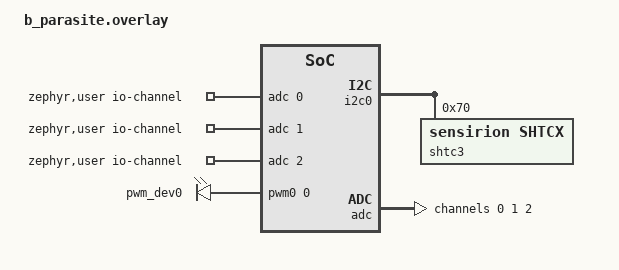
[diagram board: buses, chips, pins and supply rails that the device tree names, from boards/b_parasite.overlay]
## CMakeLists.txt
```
# SPDX-License-Identifier: Apache-2.0

cmake_minimum_required(VERSION 3.20.0)

# SET(CMAKE_CXX_FLAGS  "${CMAKE_CXX_FLAGS} -Werror")

find_package(Zephyr REQUIRED HINTS $ENV{ZEPHYR_BASE})

project(plant_sensor_app)

target_sources(app PRIVATE 
src/main.cpp
src/zb_zcl_soil_moisture.c
src/status_codes.cpp
src/battery.cpp
src/adc.cpp
src/moisture_sensor.cpp
src/light_sensor.cpp
src/zigbee.cpp
)

include_directories(include)
```

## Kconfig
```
source "Kconfig.zephyr"

config ZIGBEE_UPDATE_PERIOD
  int "Zigbee cluster attribute updated period in seconds"
  default 120

config LOG_MOISTURE_SENSOR_LEVEL
  int "Moisture sensor log level"
  default 3

config LOG_LIGHT_SENSOR_LEVEL
  int "Light sensor log level"
  default 3

config ZIGBEE_DATA_POLL_INTERVAL
  int "Zigbee data poll interval in milliseconds"
  default 5000
```

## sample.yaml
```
sample:
  description: Template for developing an application
  name: Application Template
common:
    tags: introduction
    integration_platforms:
      - native_posix
    harness: console
    harness_config:
      type: one_line
      regex:
        - "Hello World! (.*)"
tests:
  sample.basic.helloworld:
    tags: introduction
```

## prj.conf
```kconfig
# Enabel C++
CONFIG_MAIN_STACK_SIZE=4096
CONFIG_NEWLIB_LIBC=y
CONFIG_CPLUSPLUS=y

CONFIG_SERIAL=n
CONFIG_GPIO=y

CONFIG_PM=y

CONFIG_LOG=n
CONFIG_LOG_DEFAULT_LEVEL=4
CONFIG_LOG_MOISTURE_SENSOR_LEVEL=4
CONFIG_LOG_LIGHT_SENSOR_LEVEL=4
CONFIG_SENSOR_LOG_LEVEL_DBG=y

CONFIG_UART_CONSOLE=n
CONFIG_USE_SEGGER_RTT=n
CONFIG_RTT_CONSOLE=n

CONFIG_ADC=y
CONFIG_PWM=y

CONFIG_HEAP_MEM_POOL_SIZE=2048
CONFIG_MAIN_THREAD_PRIORITY=7

CONFIG_ZIGBEE=y
CONFIG_ZIGBEE_APP_UTILS=y
CONFIG_ZIGBEE_ROLE_END_DEVICE=y
CONFIG_ZIGBEE_CHANNEL_SELECTION_MODE_MULTI=y
CONFIG_ZIGBEE_DATA_POLL_INTERVAL=20000


# This example requires more workqueue stack
CONFIG_SYSTEM_WORKQUEUE_STACK_SIZE=2048

# Enable API for powering down unused RAM parts
CONFIG_RAM_POWER_DOWN_LIBRARY=y

# Enable nRF ECB driver
CONFIG_CRYPTO=y
CONFIG_CRYPTO_NRF_ECB=y
CONFIG_CRYPTO_INIT_PRIORITY=80

# Networking
CONFIG_NET_IPV6_MLD=n
CONFIG_NET_IPV6_NBR_CACHE=n
CONFIG_NET_IPV6_RA_RDNSS=n
CONFIG_NET_IP_ADDR_CHECK=n
CONFIG_NET_UDP=n

CONFIG_I2C=y
CONFIG_SENSOR=y
CONFIG_SHTCX=y
CONFIG_SPI=n
```

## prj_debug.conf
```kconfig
# Enabel C++
CONFIG_MAIN_STACK_SIZE=4096
CONFIG_NEWLIB_LIBC=y
CONFIG_CPLUSPLUS=y

CONFIG_SERIAL=n
CONFIG_GPIO=y

CONFIG_ZIGBEE_UPDATE_PERIOD=10

CONFIG_PM=y

CONFIG_LOG=y
CONFIG_LOG_DEFAULT_LEVEL=3
CONFIG_LOG_MOISTURE_SENSOR_LEVEL=4
CONFIG_LOG_LIGHT_SENSOR_LEVEL=3
CONFIG_SENSOR_LOG_LEVEL_DBG=y

CONFIG_UART_CONSOLE=n
CONFIG_USE_SEGGER_RTT=y
CONFIG_RTT_CONSOLE=y

CONFIG_ADC=y
CONFIG_PWM=y

CONFIG_HEAP_MEM_POOL_SIZE=2048
CONFIG_MAIN_THREAD_PRIORITY=7

CONFIG_ZIGBEE=y
CONFIG_ZIGBEE_APP_UTILS=y
CONFIG_ZIGBEE_ROLE_END_DEVICE=y
CONFIG_ZIGBEE_CHANNEL_SELECTION_MODE_MULTI=y
CONFIG_ZIGBEE_DATA_POLL_INTERVAL=5000


# This example requires more workqueue stack
CONFIG_SYSTEM_WORKQUEUE_STACK_SIZE=2048

# Enable API for powering down unused RAM parts
CONFIG_RAM_POWER_DOWN_LIBRARY=y

# Enable nRF ECB driver
CONFIG_CRYPTO=y
CONFIG_CRYPTO_NRF_ECB=y
CONFIG_CRYPTO_INIT_PRIORITY=80

# Networking
CONFIG_NET_IPV6_MLD=n
CONFIG_NET_IPV6_NBR_CACHE=n
CONFIG_NET_IPV6_RA_RDNSS=n
CONFIG_NET_IP_ADDR_CHECK=n
CONFIG_NET_UDP=n

CONFIG_I2C=y
CONFIG_SENSOR=y
CONFIG_SHTCX=y
CONFIG_SPI=n
```

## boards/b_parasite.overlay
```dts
/ {
  zephyr,user {
    io-channels = <&adc 0>, <&adc 1>, <&adc 2>;
  };
  pwmdevs {
    compatible = "pwm-leds";
    pwm_dev0: pwm_dev_0 {
      pwms = <&pwm0 0 1000 PWM_POLARITY_NORMAL>;
    };
   };
  aliases {
    sensor-pwm = &pwm_dev0;
    temp-sensor = &shtc3;
  };
};

&i2c0{
  shtc3: shtc3@70 {
		compatible = "sensirion,shtcx";
		reg = <0x70>;
    chip = "shtc3";
    measure-mode = "low-power";
  };
};

&adc{

  channel@0 {
    reg = <0>;
    zephyr,gain = "ADC_GAIN_1_6";
    zephyr,reference = "ADC_REF_INTERNAL";
    zephyr,acquisition-time = <ADC_ACQ_TIME_DEFAULT>;
    zephyr,input-positive = <NRF_SAADC_VDD>;
    zephyr,resolution = <14>;
    zephyr,oversampling = <8>;
  };

  channel@1 {
    reg = <1>;
    zephyr,gain = "ADC_GAIN_1_6";
    zephyr,reference = "ADC_REF_INTERNAL";
    zephyr,acquisition-time = <ADC_ACQ_TIME(ADC_ACQ_TIME_MICROSECONDS, 20)>;
    zephyr,input-positive = <NRF_SAADC_AIN0>;
    zephyr,resolution = <12>;
  };

  channel@2 {
    reg = <2>;
    zephyr,gain = "ADC_GAIN_1_6";
    zephyr,reference = "ADC_REF_INTERNAL";
    zephyr,acquisition-time = <ADC_ACQ_TIME_DEFAULT>;
    zephyr,input-positive = <NRF_SAADC_AIN1>;
    zephyr,resolution = <12>;
  };
};
```

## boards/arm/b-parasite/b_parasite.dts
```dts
/*
 * Copyright (c) 2020 Tobias Svehagen
 *
 * SPDX-License-Identifier: Apache-2.0
 */

 /dts-v1/;
 #include <nordic/nrf52840_qiaa.dtsi>
 /* #include "feather_connector.dtsi" */
 
 / {
	 model = "B Parasite";
	 compatible = "adafruit,feather-nrf52840";
 
   zephyr,user {
     io-channels = <&adc 2>;
   };
	 chosen {
		 zephyr,console = &uart0;
		 zephyr,shell-uart = &uart0;
		 zephyr,uart-mcumgr = &uart0;
		 zephyr,bt-mon-uart = &uart0;
		 zephyr,bt-c2h-uart = &uart0;
		 zephyr,sram = &sram0;
		 zephyr,flash = &flash0;
		 zephyr,code-partition = &slot0_partition;
	 };
 
	 leds {
		 compatible = "gpio-leds";
		 led0: led_0 {
			 gpios = <&gpio0 28 0>;
			 label = "Blue LED";
		 };
	 };
 
	 buttons {
		 compatible = "gpio-keys";
		 button0: button_0 {
			 gpios = <&gpio1 2 (GPIO_PULL_UP | GPIO_ACTIVE_LOW)>;
			 label = "Push button switch";
		 };
	 };
 
	 gpios {
		 compatible = "gpio-keys";
		 fast_discharge_en: gpio1_10 {
		   gpios = <&gpio1 10 GPIO_ACTIVE_HIGH>;
		   label = "fast_discharge_en";
		 };
		 photo_v: gpio0_29 {
		   gpios = <&gpio0 29 GPIO_ACTIVE_HIGH>;
		   label = "photo_v";
		 };
	 };
 
	 /* These aliases are provided for compatibility with samples */
	 aliases {
		 led0 = &led0;
     fast-discharge-en = &fast_discharge_en;
     photo-v = &photo_v;
	 };
 };
 
 &adc {
	 status = "okay";
 };
 
 &gpiote {
	 status = "okay";
 };
 
 &gpio0 {
	 status = "okay";
 };
 
 &gpio1 {
	 status = "okay";
 };
 
 &uart0 {
	 compatible = "nordic,nrf-uart";
	 status = "disabled";
 };
 
 &uart1 {
	 compatible = "nordic,nrf-uarte";
	 status = "disabled";
 };
 
 &i2c0 {
	 compatible = "nordic,nrf-twi";
	 status = "okay";
	 sda-pin = <24>;
	 scl-pin = <13>;
 };
 
 &spi1 {
	 compatible = "nordic,nrf-spi";
	 status = "disabled";
 };
 
 &spi2 {
	 compatible = "nordic,nrf-spi";
	 status = "disabled";
 };
 
 &qspi {
	 status = "disabled";
 };
 
 &flash0 {
 
	 partitions {
		 compatible = "fixed-partitions";
		 #address-cells = <1>;
		 #size-cells = <1>;
 
		 boot_partition: partition@0 {
			 label = "mcuboot";
			 reg = <0x000000000 0x0000C000>;
		 };
		 slot0_partition: partition@c000 {
			 label = "image-0";
			 reg = <0x0000C000 0x00067000>;
		 };
		 slot1_partition: partition@73000 {
			 label = "image-1";
			 reg = <0x00073000 0x00067000>;
		 };
		 scratch_partition: partition@da000 {
			 label = "image-scratch";
			 reg = <0x000da000 0x0001e000>;
		 };
 
		 /*
		  * The flash starting at 0x000f8000 and ending at
		  * 0x000fffff is reserved for use by the application.
		  */
 
		 /* Storage partition will be used by FCB/NFFS/NVS if enabled. */
		 storage_partition: partition@f8000 {
			 label = "storage";
			 reg = <0x000f8000 0x00008000>;
		 };
	 };
 };
 
 zephyr_udc0: &usbd {
	 compatible = "nordic,nrf-usbd";
	 status = "okay";
 };
 
```

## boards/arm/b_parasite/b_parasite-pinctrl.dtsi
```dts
/*
 * Copyright (c) 2022 Nordic Semiconductor
 * SPDX-License-Identifier: Apache-2.0
 */

&pinctrl {
	uart0_default: uart0_default {
		group1 {
			psels = <NRF_PSEL(UART_TX, 0, 25)>,
				<NRF_PSEL(UART_RX, 0, 24)>;
		};
	};

	uart0_sleep: uart0_sleep {
		group1 {
			psels = <NRF_PSEL(UART_TX, 0, 25)>,
				<NRF_PSEL(UART_RX, 0, 24)>;
			low-power-enable;
		};
	};

	i2c0_default: i2c0_default {
		group1 {
			psels = <NRF_PSEL(TWIM_SDA, 0, 24)>,
				<NRF_PSEL(TWIM_SCL, 0, 13)>;
		};
	};

	i2c0_sleep: i2c0_sleep {
		group1 {
			psels = <NRF_PSEL(TWIM_SDA, 0, 24)>,
				<NRF_PSEL(TWIM_SCL, 0, 13)>;
			low-power-enable;
		};
	};

  pwm0_default: pwm0_default {
		group1 {
			psels = <NRF_PSEL(PWM_OUT0, 0, 5)>;
			nordic,invert;
		};
	};

	pwm0_sleep: pwm0_sleep {
		group1 {
			psels = <NRF_PSEL(PWM_OUT0, 0, 5)>;
			low-power-enable;
		};
	};


};
```

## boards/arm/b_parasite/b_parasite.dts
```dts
/*
 * Copyright (c) 2020 Tobias Svehagen
 *
 * SPDX-License-Identifier: Apache-2.0
 */

/dts-v1/;
#include <nordic/nrf52840_qiaa.dtsi>
#include <zephyr/dt-bindings/adc/adc.h>
#include "b_parasite-pinctrl.dtsi"

/ {
  model = "B Parasite";
  compatible = "adafruit,feather-nrf52840";

  chosen {
    zephyr,console = &uart0;
    zephyr,shell-uart = &uart0;
    zephyr,uart-mcumgr = &uart0;
    zephyr,bt-mon-uart = &uart0;
    zephyr,bt-c2h-uart = &uart0;
    zephyr,sram = &sram0;
    zephyr,flash = &flash0;
    zephyr,code-partition = &slot0_partition;
  };

  leds {
    compatible = "gpio-leds";
    led0: led_0 {
        gpios = <&gpio0 28 GPIO_ACTIVE_HIGH>;
        label = "Blue LED";
      };
  };

  buttons {
    compatible = "gpio-keys";
    button0: button_0 {
      gpios = <&gpio1 2 (GPIO_PULL_UP | GPIO_ACTIVE_LOW)>;
      label = "Push button switch";
    };
  };

  gpios {
    compatible = "gpio-keys";
    fast_discharge_en: gpio1_10 {
       gpios = <&gpio1 10 GPIO_ACTIVE_HIGH>;
       label = "fast_discharge_en";
     };
     photo_v: gpio0_29 {
       gpios = <&gpio0 29 GPIO_ACTIVE_HIGH>;
       label = "photo_v";
     };
  };

  /* These aliases are provided for compatibility with samples */
  aliases {
    led0 = &led0;
    fast-discharge-en = &fast_discharge_en;
    photo-v = &photo_v;
    button0 = &button0;
  };
};

&adc {
  #address-cells = <1>;
	#size-cells = <0>;
  status = "okay";
};

&pwm0 {
	status = "okay";
	pinctrl-0 = <&pwm0_default>;
	pinctrl-1 = <&pwm0_sleep>;
	pinctrl-names = "default", "sleep";
};

&gpiote {
  status = "okay";
};

&gpio0 {
  status = "okay";
};

&gpio1 {
  status = "okay";
};

&uart0 {
  compatible = "nordic,nrf-uart";
	current-speed = <115200>;
  status = "disabled";
  pinctrl-0 = <&uart0_default>;
	pinctrl-1 = <&uart0_sleep>;
	pinctrl-names = "default", "sleep";
};


&i2c0 {
  compatible = "nordic,nrf-twi";
  status = "okay";
  pinctrl-0 = <&i2c0_default>;
	pinctrl-1 = <&i2c0_sleep>;
	pinctrl-names = "default", "sleep";
};

&flash0 {

  partitions {
    compatible = "fixed-partitions";
#address-cells = <1>;
#size-cells = <1>;

boot_partition: partition@0 {
                  label = "mcuboot";
                  reg = <0x000000000 0x0000C000>;
                };
slot0_partition: partition@c000 {
                   label = "image-0";
                   reg = <0x0000C000 0x00067000>;
                 };
slot1_partition: partition@73000 {
                   label = "image-1";
                   reg = <0x00073000 0x00067000>;
                 };
scratch_partition: partition@da000 {
                     label = "image-scratch";
                     reg = <0x000da000 0x0001e000>;
                   };

                   /*
                    * The flash starting at 0x000f8000 and ending at
                    * 0x000fffff is reserved for use by the application.
                    */

                   /* Storage partition will be used by FCB/NFFS/NVS if enabled. */
storage_partition: partition@f8000 {
                     label = "storage";
                     reg = <0x000f8000 0x00008000>;
                   };
  };
};

zephyr_udc0: &usbd {
               compatible = "nordic,nrf-usbd";
               status = "okay";
             };
```

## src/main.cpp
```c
// Code for Zigbee plant sensors based on the nRF52 microcontroller    
// Copyright (C) 2022 Stan van Nieuwamerongen 
//
// This program is free software: you can redistribute it and/or modify it
// under the terms of the GNU General Public License as published by the Free
// Software Foundation, either version 3 of the License, or (at your option)
// any later version.
//
// This program is distributed in the hope that it will be useful, but WITHOUT
// ANY WARRANTY; without even the implied warranty of  MERCHANTABILITY or
// FITNESS FOR A PARTICULAR PURPOSE. See the GNU General Public License for
// more details.
//
// You should have received a copy of the GNU General Public License along with
// this program.  If not, see <http://www.gnu.org/licenses/>.

#include <sys/_stdint.h>
#include <zephyr.h>
#include <inttypes.h>
#include <stddef.h>
#include <stdint.h>
#include <math.h>

#include <zephyr/device.h>
#include <zephyr/devicetree.h>
#include <zephyr/drivers/adc.h>
#include <zephyr/drivers/sensor.h>
#include <zephyr/kernel.h>
#include <zephyr/sys/printk.h>
#include <zephyr/sys/util.h>
#include <zephyr/drivers/pwm.h>
#include <drivers/gpio.h>
#include <ram_pwrdn.h>

#include <sys/printk.h>
#include "logging/log.h"
#include "battery.hpp"
#include "status_codes.hpp"
#include "adc.hpp"
#include "moisture_sensor.hpp"
#include "light_sensor.hpp"
#include "zigbee.hpp"
#include "math.h"

extern "C" {
#include <addons/zcl/zb_zcl_temp_measurement_addons.h>
#include "zb_plant_sensor.h"
#include "zb_zcl_soil_moisture.h"
#include "zboss_api_zdo.h"
}

// #define CALIBRATION

LOG_MODULE_REGISTER(app, CONFIG_LOG_DEFAULT_LEVEL);

#define SHTC_NODE DT_ALIAS(temp_sensor)
#define CONFIG_SHTC3_DEV_NAME DT_LABEL(SHTC3)


static const struct pwm_dt_spec moisture_pwm = PWM_DT_SPEC_GET(DT_ALIAS(sensor_pwm));
static const struct gpio_dt_spec discharge_pin = GPIO_DT_SPEC_GET(DT_ALIAS(fast_discharge_en), gpios);
static const struct gpio_dt_spec photo_v_pin = GPIO_DT_SPEC_GET(DT_ALIAS(photo_v), gpios);

adc_c moisture_adc(2);
adc_c light_sensor_adc(1);
moisture_sensor_c moisture_sensor(&moisture_adc, &moisture_pwm, &discharge_pin);
light_sensor_c light_sensor(&light_sensor_adc, &photo_v_pin);

const struct device* shtc3;

/**
* @brief initializes the temeperature and humidity sensor
* @return STATUS_SUCCESS (0) on success
* @return positive error code otherwise
**/
static status_code_t init_shtc3_device(void){
  shtc3 = DEVICE_DT_GET(SHTC_NODE);
  if(shtc3 == NULL){
    /* No such node, or the node does not have status "okay". */
    printk("\nError: no device found.\n");
    return STATUS_ERROR_DEVICE_NOT_FOUND;
  }
  if(!device_is_ready(shtc3)){
    printk("\nError: Device \"%s\" is not ready; "
        "check the driver initialization logs for errors.\n",
        shtc3->name);
    return STATUS_ERROR_DEVICE_NOT_READY;
  }
  LOG_INF("Found device \"%s\", getting sensor data\n", shtc3->name);
  return STATUS_SUCCESS;
}

/**
* @brief Readout the temperature and update the zigbee cluster attribute 
* @return STATUS_SUCCESS (0) on success
* @return positive error code otherwise
**/
status_code_t update_temperature(){
  struct        sensor_value temp;
  int16_t       temperature_attribute   = 0;
  double        measured_temperature    = 0;
  static double previous_temerature     = 0; 

  status_code_t st = sensor_channel_get(shtc3, SENSOR_CHAN_AMBIENT_TEMP, &temp);
  // Make sure it only outputs one decimal
  measured_temperature = round(sensor_value_to_double(&temp) * 10)/10;
  if(st == STATUS_SUCCESS){
    if(measured_temperature != previous_temerature){
      previous_temerature = measured_temperature;
      temperature_attribute = (int16_t)
        (measured_temperature *
         ZCL_TEMPERATURE_MEASUREMENT_MEASURED_VALUE_MULTIPLIER);
      LOG_INF("Temp: %d", temperature_attribute);

      zb_zcl_status_t status = zb_zcl_set_attr_val(
          PLANT_SENSOR_ENDPOINT,
          ZB_ZCL_CLUSTER_ID_TEMP_MEASUREMENT,
          ZB_ZCL_CLUSTER_SERVER_ROLE,
          ZB_ZCL_ATTR_TEMP_MEASUREMENT_VALUE_ID,
          (zb_uint8_t *)&temperature_attribute,
          ZB_FALSE);

      if (status) {
        LOG_ERR("Failed to set ZCL attribute: %d", status);
        return -status;
      }

    }
  }
  return -st;
}

/**
* @brief Readout the humidity and update the zigbee cluster attribute 
* @return STATUS_SUCCESS (0) on success
* @return positive error code otherwise
**/
status_code_t update_humidity(){
  struct        sensor_value hum;
  int16_t       humidity_attribute  = 0;
  double        measured_humidity   = 0;
  static double previous_humidity   = 0; 

  status_code_t st = sensor_channel_get(shtc3, SENSOR_CHAN_HUMIDITY, &hum);
  measured_humidity = round(sensor_value_to_double(&hum) * 10)/10;
  if(st == STATUS_SUCCESS){
    if(previous_humidity != measured_humidity){
      previous_humidity = measured_humidity;
      humidity_attribute = (int16_t)
        (measured_humidity *
         ZCL_HUMIDITY_MEASUREMENT_MEASURED_VALUE_MULTIPLIER);
      LOG_INF("Hum attribute: %d", humidity_attribute);

      zb_zcl_status_t status = zb_zcl_set_attr_val(
          PLANT_SENSOR_ENDPOINT,
          ZB_ZCL_CLUSTER_ID_REL_HUMIDITY_MEASUREMENT,
          ZB_ZCL_CLUSTER_SERVER_ROLE,
          ZB_ZCL_ATTR_REL_HUMIDITY_MEASUREMENT_VALUE_ID,
          (zb_uint8_t *)&humidity_attribute,
          ZB_FALSE);

      if (status) {
        LOG_ERR("Failed to set ZCL attribute: %d", status);
        return -status;
      }

    }
  }
  return -st;
}

/**
* @brief Readout the soil moisture and update the zigbee cluster attribute 
* @return STATUS_SUCCESS (0) on success
* @return positive error code otherwise
**/
status_code_t update_soil_moisture(int32_t battery_mv){
  static int8_t previous_moisture = 0;
  int8_t        moisture_val = moisture_sensor.read(battery_mv);
  if(moisture_val < 0){
    LOG_ERR("Failed to read soil moisture");
    return -moisture_val;
  }
  if(moisture_val != previous_moisture){
    previous_moisture = moisture_val;
    int16_t moisture_attribute = (int16_t)(moisture_val * ZCL_SOIL_MOISTURE_MEASUREMENT_MEASURED_VALUE_MULTIPLIER);
    LOG_INF("Soil moisture: %d\n", moisture_val);

    zb_zcl_status_t status = zb_zcl_set_attr_val(
        PLANT_SENSOR_ENDPOINT,
        ZB_ZCL_CLUSTER_ID_SOIL_MOISTURE_MEASUREMENT,
        ZB_ZCL_CLUSTER_SERVER_ROLE,
        ZB_ZCL_ATTR_REL_HUMIDITY_MEASUREMENT_VALUE_ID,
        (zb_uint8_t *)&moisture_attribute,
        ZB_FALSE);
    if (status) {
      LOG_ERR("Failed to set ZCL attribute: %d", status);
      return -status;
    }
  }
  return STATUS_SUCCESS;
}

/**
* @brief Readout the light sensor and update the zigbee cluster attribute 
* @return STATUS_SUCCESS (0) on success
* @return positive error code otherwise
**/
status_code_t update_light_sensor(){
  static int32_t  previous_light  = 0;
  int32_t         value           = light_sensor.read();

  if(value < 0){
    LOG_ERR("Failed to read from light sensor");
    return -value;
  }
  if(value != previous_light){
    previous_light = value;
    LOG_INF("Light: %d", value);
    int16_t light_sensor_attribute = (int16_t)(10000.0 * log10(value));
    LOG_DBG("Light attribute: %d", light_sensor_attribute);

    zb_zcl_status_t status = zb_zcl_set_attr_val(
        PLANT_SENSOR_ENDPOINT,
        ZB_ZCL_CLUSTER_ID_ILLUMINANCE_MEASUREMENT,
        ZB_ZCL_CLUSTER_SERVER_ROLE,
        ZB_ZCL_ATTR_ILLUMINANCE_MEASUREMENT_MEASURED_VALUE_ID,
        (zb_uint8_t *)&light_sensor_attribute,
        ZB_FALSE);


    if (status) {
      LOG_ERR("Failed to set ZCL attribute: %d", status);
      return -status;
    }
  }
  return STATUS_SUCCESS;
}

/**
* @brief Readout the battery level and update the zigbee cluster attribute 
* @return STATUS_SUCCESS (0) on success
* @return positive error code otherwise
**/
status_code_t update_battery_state(int32_t battery_mv){
  static uint8_t previous_battery = 0;
  uint8_t soc = (uint8_t)round(battery_level_pptt(battery_mv, discharge_curve) / 100 * 2);

  if(previous_battery != soc){
    previous_battery = soc;
    if(battery_mv < 0){
      LOG_ERR("Failed to sample battery");
      return -battery_mv;
    }
    uint8_t battery_attribute = (uint8_t)(battery_mv / ZCL_BATTERY_VOLTAGE_VALUE_DIVIDER);
    zb_zcl_status_t status = zb_zcl_set_attr_val(
        PLANT_SENSOR_ENDPOINT,
        ZB_ZCL_CLUSTER_ID_POWER_CONFIG,
        ZB_ZCL_CLUSTER_SERVER_ROLE,
        ZB_ZCL_ATTR_POWER_CONFIG_BATTERY_VOLTAGE_ID,
        (zb_uint8_t *)&battery_attribute,
        ZB_FALSE);
    LOG_DBG("Battery value: %d mV", battery_mv);

    if (status) {
      LOG_ERR("Failed to set ZCL attribute: %d", status);
      return -status;
    }

    uint8_t alarm_mask = 0;
    if(battery_mv < BATTERY_ALARM_MV)
      alarm_mask |= 1;
    if(battery_mv < BATTERY_THRESHOLD1_MV)
      alarm_mask |= 1 << 1;
    if(battery_mv < BATTERY_THRESHOLD2_MV)
      alarm_mask |= 1 << 2;
    if(battery_mv < BATTERY_THRESHOLD3_MV)
      alarm_mask |= 1 << 3;
    LOG_DBG("Battery alarm mask: %d", alarm_mask);

    status = zb_zcl_set_attr_val(
        PLANT_SENSOR_ENDPOINT,
        ZB_ZCL_CLUSTER_ID_POWER_CONFIG,
        ZB_ZCL_CLUSTER_SERVER_ROLE,
        ZB_ZCL_ATTR_POWER_CONFIG_BATTERY_ALARM_MASK_ID,
        (zb_uint8_t *)&alarm_mask,
        ZB_FALSE);

    if (status) {
      LOG_ERR("Failed to set ZCL attribute: %d", status);
      return -status;
    }

    status = zb_zcl_set_attr_val(
        PLANT_SENSOR_ENDPOINT,
        ZB_ZCL_CLUSTER_ID_POWER_CONFIG,
        ZB_ZCL_CLUSTER_SERVER_ROLE,
        ZB_ZCL_ATTR_POWER_CONFIG_BATTERY_SIZE_ID,
        (zb_uint8_t *)ZB_ZCL_POWER_CONFIG_BATTERY_SIZE_OTHER,
        ZB_FALSE);

    status = zb_zcl_set_attr_val(
        PLANT_SENSOR_ENDPOINT,
        ZB_ZCL_CLUSTER_ID_POWER_CONFIG,
        ZB_ZCL_CLUSTER_SERVER_ROLE,
        ZB_ZCL_ATTR_POWER_CONFIG_BATTERY_QUANTITY_ID,
        (zb_uint8_t *)1,
        ZB_FALSE);


    status = zb_zcl_set_attr_val(
        PLANT_SENSOR_ENDPOINT,
        ZB_ZCL_CLUSTER_ID_POWER_CONFIG,
        ZB_ZCL_CLUSTER_SERVER_ROLE,
        ZB_ZCL_ATTR_POWER_CONFIG_BATTERY_PERCENTAGE_REMAINING_ID,
        (zb_uint8_t *)&soc,
        ZB_FALSE);

    if (status) {
      LOG_ERR("Failed to set ZCL attribute: %d", status);
      return -status;
    }
  }
  return STATUS_SUCCESS;

}

static void app_loop(zb_bufid_t bufid){
  int32_t battery_mv = 0;
  LOG_INF("APP_LOOP");
  if(zigbee_state == ZIGBEE_JOINED){
    LOG_INF("Updating sensor values");
    battery_measure_enable(true);
    battery_mv = battery_sample();
    battery_measure_enable(false);
    sensor_sample_fetch(shtc3);
    update_temperature();
    update_humidity();
    update_soil_moisture(battery_mv);
    update_light_sensor();
    update_battery_state(battery_mv);

    ZB_SCHEDULE_APP_ALARM(app_loop, bufid, 
        ZB_MILLISECONDS_TO_BEACON_INTERVAL(
          CONFIG_ZIGBEE_UPDATE_PERIOD * 1000));
  }
  else if(zigbee_state == ZIGBEE_ERROR){
    // Do not reschedule and wait for a factory reset
    return;
  }
  else{
    ZB_SCHEDULE_APP_ALARM(app_loop, bufid, 
        ZB_MILLISECONDS_TO_BEACON_INTERVAL(1000));
  }
}

int main(void)
{
  #ifdef CALIBRATION
 LOG_INF("Plant sensor application started!");
  check_error(battery_measure_enable(true), "Failed to start battery measurement");
  check_error(moisture_sensor.init(), "Failed to init moisture sensor");

  int32_t battery_mv = 0;
  battery_measure_enable(true);

  int32_t sum_moisture = 0;
  int32_t sum_battery = 0;
  const int samples = 100;
  int32_t sample_counter = 0;

  while(true){
    battery_mv = battery_sample();
    int32_t moisture_mV = moisture_sensor.read_raw();
    sum_moisture += moisture_mV;
    sum_battery += battery_mv;
    sample_counter += 1;
    if(sample_counter >= samples){
      sample_counter = 0;
      LOG_INF("Battery: %d mV", sum_battery/samples);
      LOG_INF("Moisture: %d mV", sum_moisture/samples);
      sum_moisture = 0;
      sum_battery = 0;
    }
    k_msleep(100);
  }

  return 0;
  #else
  LOG_INF("Plant sensor application started!");
  check_error(battery_measure_enable(true), "Failed to start battery measurement");
  check_error(moisture_sensor.init(), "Failed to init moisture sensor");
  check_error(init_shtc3_device(), "Failed to init temperature sensor");
  check_error(light_sensor.init(), "Failed to init light sensor");

  /* Power off unused sections of RAM to lower device power consumption. */
  if (IS_ENABLED(CONFIG_RAM_POWER_DOWN_LIBRARY)) {
    power_down_unused_ram();
  }

  zigbee_start();
  ZB_SCHEDULE_APP_ALARM(app_loop, ZB_ALARM_ANY_PARAM, 
      ZB_MILLISECONDS_TO_BEACON_INTERVAL(0)); 

  return 0;
  #endif
}
```

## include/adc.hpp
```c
#pragma once
#include <zephyr/device.h>
#include <zephyr/devicetree.h>
#include <zephyr/drivers/adc.h>
#include <zephyr/kernel.h>
#include <zephyr/sys/util.h>
#include "status_codes.hpp"

/**
* @brief Read analog value with the ADC
**/
class adc_c{
  public:
    adc_c(uint16_t channel);
    status_code_t init();
    int32_t read();

  private:
    static const struct adc_dt_spec m_adc_channels[];
    struct adc_dt_spec m_adc_spec;
    int16_t m_buf;
    struct adc_sequence m_sequence;
};
```

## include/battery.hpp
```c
/*
 * Copyright (c) 2018-2019 Peter Bigot Consulting, LLC
 *
 * SPDX-License-Identifier: Apache-2.0
 */

#ifndef APPLICATION_BATTERY_H_
#define APPLICATION_BATTERY_H_

#define BATTERY_ALARM_MV      2200
#define BATTERY_THRESHOLD1_MV 2400
#define BATTERY_THRESHOLD2_MV 2600
#define BATTERY_THRESHOLD3_MV 2800
#define BATTERY_FULL_MV       3100
#define BATTERY_EMPTY_MV      2000

/** Enable or disable measurement of the battery voltage.
 *
 * @param enable true to enable, false to disable
 *
 * @return zero on success, or a negative error code.
 */
int battery_measure_enable(bool enable);

/** Measure the battery voltage.
 *
 * @return the battery voltage in millivolts, or a negative error
 * code.
 */
int battery_sample(void);

/** A point in a battery discharge curve sequence.
 *
 * A discharge curve is defined as a sequence of these points, where
 * the first point has #lvl_pptt set to 10000 and the last point has
 * #lvl_pptt set to zero.  Both #lvl_pptt and #lvl_mV should be
 * monotonic decreasing within the sequence.
 */
struct battery_level_point {
	/** Remaining life at #lvl_mV. 
	 * 100 % -> 10000 */
	uint16_t lvl_pptt;

	/** Battery voltage at #lvl_pptt remaining life. */
	uint16_t lvl_mV;
};

/** Simple discharging curve for a typical CR2032 coin cell battery. 
*
* See https://github.com/stanvn/zigbee-plant-sensor/pull/4 
*/
static const struct battery_level_point discharge_curve[] = {
	{10000, BATTERY_FULL_MV},
	{9900, 3000},
	{9800, 2900},
	{9600, 2800},
	{2100, 2700},
	{1100, 2600},
	{700, 2500},
	{400, 2400},
	{200, 2300},
	{100, 2200},
	{0, BATTERY_EMPTY_MV},
};

/** Calculate the estimated battery level based on a measured voltage.
 *
 * @param batt_mV a measured battery voltage level.
 *
 * @param curve the discharge curve for the type of battery installed
 * on the system.
 *
 * @return the estimated remaining capacity in parts per ten
 * thousand.
 */
unsigned int battery_level_pptt(unsigned int batt_mV,
				const struct battery_level_point *curve);

#endif /* APPLICATION_BATTERY_H_ */
```

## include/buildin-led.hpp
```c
#ifndef _BUILDIN_LEDS_H
#define _BUILDIN_LEDS_H

#include "stdint.h"

void buildin_led_init();

void buildin_led_toggle();

#endif // _BUILDIN_LEDS_H
```

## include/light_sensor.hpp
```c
#pragma once

#include <zephyr.h>
#include <drivers/gpio.h>
#include "adc.hpp"
#include "status_codes.hpp"

/**
* @brief Initialize and readout the phototransistor
**/
class light_sensor_c{
  public:
    light_sensor_c(adc_c* adc, const struct gpio_dt_spec* photo_v_pin);
    status_code_t init();
    int32_t read();
  private:
    adc_c *m_adc;
    const struct gpio_dt_spec* m_photo_v_pin;
};
```

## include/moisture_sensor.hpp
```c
#pragma once

#include <zephyr.h>
#include "adc.hpp"
#include <zephyr/drivers/pwm.h>
#include <drivers/gpio.h>

/* The moisture level is calculated based on the ADC sensor
 * reading and the battery level. Lower battery level also means 
 * lower ADC reading. There are two equations:
 * dry = EQ_DRY_A*battery_level + EQ_DRY_B
 * wet = EQ_WET_A*battery_level + EQ_WET_B
 * Where dry is the maximal expected sensor value when fully dry
 * and max is the minimal expected sensor value when fully wet
 */
#define EQ_DRY_A 0.9321
#define EQ_DRY_B -449.87

#define EQ_WET_A 0.1298
#define EQ_WET_B -203.09

#define MOISTURE_ADC_MIN_CHANGE 20

/**
* @brief Initialize and readout the soil moisture sensor
**/
class moisture_sensor_c{
  public:
    moisture_sensor_c(adc_c* adc, const struct pwm_dt_spec* pwm, const struct gpio_dt_spec* discharge_pin);
    status_code_t init();
    int8_t read(int32_t battery_mv);

  private:
    int8_t get_moisture_percentage(int32_t bat_mV, int32_t adc_reading);
    adc_c* m_adc;
    int32_t                     last_adc_value        = 0;
    uint8_t                     last_percentage_value = 0;
    const struct pwm_dt_spec*   m_pwm;
    const struct gpio_dt_spec*  m_discharge_pin;
};
```

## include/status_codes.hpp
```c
#pragma once 

#include <zephyr.h>
#include <stdint.h>

#define STATUS_CODE_MAX_TEXT_LEN 75

typedef uint16_t status_code_t;

#define STATUS_SUCCESS                    0               // Success!!
#define STATUS_ERROR_ADDR_IN_USE          EADDRINUSE      // Address already in use
#define STATUS_ERROR_ADDR_UNAVAILABLE     EADDRNOTAVAIL   // Can't assign requested address
#define STATUS_ERROR_ALREADY_CONNECTED    EISCONN         // Already connected
#define STATUS_ERROR_ALREADY_INITIALIZED  141             // Already initialized
#define STATUS_ERROR_BUSY                 EBUSY           // Process busy
#define STATUS_ERROR_CANCELED             ECANCELED       // Operation cancled
#define STATUS_ERROR_CONN_ABORTED         ECONNABORTED    // Connection aborted
#define STATUS_ERROR_CONN_REFUSED         ECONNREFUSED    // Connection refused
#define STATUS_ERROR_CONN_RESET           ECONNRESET      // Connection reset by peer
#define STATUS_ERROR_DEVICE_NOT_READY     142             // Device not ready
#define STATUS_ERROR_DEVICE_NOT_FOUND     143             // Device not found
#define STATUS_ERROR_FILE_EXISTS          EEXIST          // File already exists
#define STATUS_ERROR_FILE_TOO_LARGE       EFBIG           // File to large
#define STATUS_ERROR_FORBIDDEN            EACCES          // Premission denied
#define STATUS_ERROR_HOST_DOWN            EHOSTDOWN       // Host is down
#define STATUS_ERROR_HTTP                 145             // HTTP error
#define STATUS_ERROR_I_AM_A_TEAPOT        418             // I'm a teapot
#define STATUS_ERROR_INVALID_ADDR         EFAULT          // Bad address
#define STATUS_ERROR_INVALID_ARGUMENT     EINVAL          // Invalid argument
#define STATUS_ERROR_INVALID_DEVICE       ENODEV          // No such device or device invalid
#define STATUS_ERROR_INVALID_FILE         EBADF           // Bad file number
#define STATUS_ERROR_INVALID_FORMAT       ENOEXEC         // Invalid argument format
#define STATUS_ERROR_INVALID_LENGTH       E2BIG           // Arg list too long
#define STATUS_ERROR_INVALID_MESSAGE      EBADMSG         // Invalid (STREAMS) message
#define STATUS_ERROR_INVALID_PATH         ENOENT          // Invalid path, no such file or directory
#define STATUS_ERROR_IN_PROGRESS          EALREADY        // Operation already in progress
#define STATUS_ERROR_IO                   EIO             // I/O error
#define STATUS_ERROR_IS_DIR               EISDIR          // Is a directory
#define STATUS_ERROR_NO_BUF_SPACE         ENOBUFS         // No buffer space available
#define STATUS_ERROR_NO_CONN              ENOTCONN        // Device not connected
#define STATUS_ERROR_NO_DATA              ENODATA         // Missing expected data
#define STATUS_ERROR_NO_DST_ADDR          EDESTADDRREQ    // Destination address required
#define STATUS_ERROR_NO_MEM               ENOSPC          // No space left on device 
#define STATUS_ERROR_NOT_INITIALIZED      144             // Not initialized
#define STATUS_ERROR_OVERFLOW             EOVERFLOW       // Value/buffer overflow
#define STATUS_ERROR_TIMEOUT              ETIMEDOUT       // General timeout
#define STATUS_ERROR_TOO_LARGE            EDOM            // Argument too large
#define STATUS_ERROR_UNSUPPORTED_ADDR     EAFNOSUPPORT    // Unsuported address

void print_status_code(status_code_t code);
void get_status_code_text(status_code_t code, char* text);
void check_error(status_code_t code, const char* msg);
```

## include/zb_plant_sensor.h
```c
extern "C" {
#include "zboss_api.h"
#include "zboss_api_addons.h"
#include "zb_zcl_soil_moisture.h"

  // Most durty hack to overcome one of the zboss zcl bugs
#define bat_num

#define ZCL_TEMPERATURE_MEASUREMENT_MEASURED_VALUE_MULTIPLIER 100
#define ZCL_HUMIDITY_MEASUREMENT_MEASURED_VALUE_MULTIPLIER 100
#define ZCL_SOIL_MOISTURE_MEASUREMENT_MEASURED_VALUE_MULTIPLIER 100
#define ZCL_ILLUMIANCE_MEASUREMENT_MEASURED_VALUE_MULTIPLIER 100
#define ZCL_BATTERY_VOLTAGE_VALUE_DIVIDER 100
 


#define PLANT_SENSOR_ENDPOINT     0x01

#define ZB_DEVICE_VER_PLANT_SENSOR         1                                    /**< Light Sensor device version. */

#define ZB_PLANT_SENSOR_IN_CLUSTER_NUM     8                                    /**< Number of the input (server) clusters in the light sensor device. */

#define ZB_PLANT_SENSOR_OUT_CLUSTER_NUM    1

#define ZB_PLANT_SENSOR_REPORT_ATTR_COUNT  8
  /** @brief Declares simple descriptor for the "Device_name" device.
   *
   *  @param ep_name          Endpoint variable name.
   *  @param ep_id            Endpoint ID.
   *  @param in_clust_num     Number of the supported input clusters.
   *  @param out_clust_num    Number of the supported output clusters.
   */

  /// @brief  Humidity Measurement cluster attributes
  typedef struct{
    zb_int16_t measure_value;
    zb_int16_t min_measure_value;
    zb_int16_t max_measure_value;
  } zb_zcl_rel_humidity_measurement_attr_t;

  typedef struct
  {
    zb_uint8_t battery_voltage;
    zb_uint8_t battery_size;
    zb_uint8_t battery_quantity;
    zb_uint8_t battery_rated_voltage;
    zb_uint8_t battery_alarm_mask;
    zb_uint8_t battery_voltage_min_threshold;
    zb_uint8_t battery_percentage_remaining;
    zb_uint8_t battery_voltage_threshold1;
    zb_uint8_t battery_voltage_threshold2;
    zb_uint8_t battery_voltage_threshold3;
    zb_uint8_t battery_percentage_min_threshold;
    zb_uint8_t battery_percentage_threshold1;
    zb_uint8_t battery_percentage_threshold2;
    zb_uint8_t battery_percentage_threshold3;
    zb_uint32_t battery_alarm_state;

  } zb_zcl_power_config_attr_t;

  typedef struct zb_zcl_illuminance_measurement_attr {
    zb_int16_t measure_value;
    zb_int16_t min_measure_value;
    zb_int16_t max_measure_value;
  } zb_zcl_illuminance_measurement_attr_t;

#define ZB_DECLARE_PLANT_SENSOR_CLUSTER_LIST(                            \
    cluster_list_name,                                                   \
    basic_attr_list,                                                     \
    identify_attr_list,                                                  \
    temperature_measure_attr_list,                                       \
    humidity_measure_attr_list,                                          \
    moisture_measure_attr_list,                                          \
    illumiance_measure_attr_list,                                        \
    power_config_attr_list)                                              \
  zb_zcl_cluster_desc_t cluster_list_name[] =                            \
  {                                                                      \
    ZB_ZCL_CLUSTER_DESC(                                                 \
        ZB_ZCL_CLUSTER_ID_BASIC,                                         \
        ZB_ZCL_ARRAY_SIZE(basic_attr_list, zb_zcl_attr_t),               \
        (basic_attr_list),                                               \
        ZB_ZCL_CLUSTER_SERVER_ROLE,                                      \
        ZB_ZCL_MANUF_CODE_INVALID                                        \
        ),                                                               \
    ZB_ZCL_CLUSTER_DESC(                                                 \
        ZB_ZCL_CLUSTER_ID_IDENTIFY,                                      \
        ZB_ZCL_ARRAY_SIZE(identify_attr_list, zb_zcl_attr_t),            \
        (identify_attr_list),                                            \
        ZB_ZCL_CLUSTER_SERVER_ROLE,                                      \
        ZB_ZCL_MANUF_CODE_INVALID                                        \
        ),                                                               \
    ZB_ZCL_CLUSTER_DESC(                                                 \
        ZB_ZCL_CLUSTER_ID_TEMP_MEASUREMENT ,                             \
        ZB_ZCL_ARRAY_SIZE(temperature_measure_attr_list, zb_zcl_attr_t), \
        (temperature_measure_attr_list),                                 \
        ZB_ZCL_CLUSTER_SERVER_ROLE,                                      \
        ZB_ZCL_MANUF_CODE_INVALID                                        \
        ),                                                               \
    ZB_ZCL_CLUSTER_DESC(                                                 \
        ZB_ZCL_CLUSTER_ID_REL_HUMIDITY_MEASUREMENT,                      \
        ZB_ZCL_ARRAY_SIZE(humidity_measure_attr_list, zb_zcl_attr_t),    \
        (humidity_measure_attr_list),                                \
        ZB_ZCL_CLUSTER_SERVER_ROLE,                                      \
        ZB_ZCL_MANUF_CODE_INVALID                                        \
        ),                                                               \
    ZB_ZCL_CLUSTER_DESC(                                                 \
        ZB_ZCL_CLUSTER_ID_SOIL_MOISTURE_MEASUREMENT,                     \
        ZB_ZCL_ARRAY_SIZE(moisture_measure_attr_list, zb_zcl_attr_t),    \
        (moisture_measure_attr_list),                                    \
        ZB_ZCL_CLUSTER_SERVER_ROLE,                                      \
        ZB_ZCL_MANUF_CODE_INVALID                                        \
        ),                                                               \
    ZB_ZCL_CLUSTER_DESC(                                                 \
        ZB_ZCL_CLUSTER_ID_ILLUMINANCE_MEASUREMENT,                       \
        ZB_ZCL_ARRAY_SIZE(illumiance_measure_attr_list, zb_zcl_attr_t),  \
        (illumiance_measure_attr_list),                                  \
        ZB_ZCL_CLUSTER_SERVER_ROLE,                                      \
        ZB_ZCL_MANUF_CODE_INVALID                                        \
        ),                                                               \
    ZB_ZCL_CLUSTER_DESC(                                                 \
        ZB_ZCL_CLUSTER_ID_POWER_CONFIG,                                  \
        ZB_ZCL_ARRAY_SIZE(power_config_attr_list, zb_zcl_attr_t),        \
        (power_config_attr_list),                                        \
        ZB_ZCL_CLUSTER_SERVER_ROLE,                                      \
        ZB_ZCL_MANUF_CODE_INVALID                                        \
        ),                                                               \
    ZB_ZCL_CLUSTER_DESC(                                                 \
        ZB_ZCL_CLUSTER_ID_IDENTIFY,                                      \
        0,                                                               \
        NULL,                                                            \
        ZB_ZCL_CLUSTER_CLIENT_ROLE,                                      \
        ZB_ZCL_MANUF_CODE_INVALID                                        \
        )                                                                \
  }

#define ZB_ZCL_DECLARE_PLANT_SENSOR_DESC(ep_name, ep_id, in_clust_num, out_clust_num) \
  ZB_DECLARE_SIMPLE_DESC(in_clust_num, out_clust_num);                                \
  ZB_AF_SIMPLE_DESC_TYPE(in_clust_num, out_clust_num) simple_desc_##ep_name =         \
  {                                                                                   \
    ep_id,                                                                            \
    ZB_AF_HA_PROFILE_ID,                                                              \
    ZB_HA_CUSTOM_ATTR_DEVICE_ID,                                                      \
    ZB_DEVICE_VER_PLANT_SENSOR,                                                 \
    0,                                                                                \
    in_clust_num,                                                                     \
    out_clust_num,                                                                    \
    {                                                                                 \
      ZB_ZCL_CLUSTER_ID_IDENTIFY,                                                     \
      ZB_ZCL_CLUSTER_ID_BASIC,                                                        \
      ZB_ZCL_CLUSTER_ID_TEMP_MEASUREMENT,                                             \
      ZB_ZCL_CLUSTER_ID_REL_HUMIDITY_MEASUREMENT,                                     \
      ZB_ZCL_CLUSTER_ID_SOIL_MOISTURE_MEASUREMENT,                                    \
      ZB_ZCL_CLUSTER_ID_ILLUMINANCE_MEASUREMENT,                                      \
      ZB_ZCL_CLUSTER_ID_POWER_CONFIG,                                                 \
      ZB_ZCL_CLUSTER_ID_IDENTIFY,                                                     \
    }                                                                                 \
  }

  /** @brief Declares endpoint for the temperature sensor device.
   *
   *  @param ep_name          Endpoint variable name.
   *  @param ep_id            Endpoint ID.
   *  @param cluster_list     Endpoint cluster list.
   */
#define ZB_ZCL_DECLARE_PLANT_SENSOR_EP(ep_name, ep_id, cluster_list)              \
  ZB_ZCL_DECLARE_PLANT_SENSOR_DESC(                                               \
      ep_name,                                                                    \
      ep_id,                                                                      \
      ZB_PLANT_SENSOR_IN_CLUSTER_NUM,                                             \
      ZB_PLANT_SENSOR_OUT_CLUSTER_NUM);                                           \
  ZBOSS_DEVICE_DECLARE_REPORTING_CTX(                                             \
      reporting_info##ep_name,                                                    \
      ZB_PLANT_SENSOR_REPORT_ATTR_COUNT);                                         \
  ZB_AF_DECLARE_ENDPOINT_DESC(                                                    \
      ep_name,                                                                    \
      ep_id,                                                                      \
      ZB_AF_HA_PROFILE_ID,                                                        \
      0,                                                                          \
      NULL,                                                                       \
      ZB_ZCL_ARRAY_SIZE(cluster_list, zb_zcl_cluster_desc_t),                     \
      cluster_list,                                                               \
      (zb_af_simple_desc_1_1_t*)&simple_desc_##ep_name,                           \
      ZB_PLANT_SENSOR_REPORT_ATTR_COUNT, reporting_info##ep_name, 0, NULL)
}
```

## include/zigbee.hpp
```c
#pragma once

#include "status_codes.hpp"

extern "C" {
#include <zboss_api.h>
#include <zboss_api_addons.h>
#include <zigbee/zigbee_error_handler.h>
#include <zigbee/zigbee_app_utils.h>
#include <zb_nrf_platform.h>
}

/* Version of the application software (1 byte). */
#define APP_INIT_BASIC_APP_VERSION     01

/* Version of the implementation of the Zigbee stack (1 byte). */
#define APP_INIT_BASIC_STACK_VERSION   10

/* Version of the hardware of the device (1 byte). */
#define APP_INIT_BASIC_HW_VERSION      11

/* Manufacturer name (32 bytes). */
#define APP_INIT_BASIC_MANUF_NAME      "Custom devices (DiY)"

/* Model number assigned by manufacturer (32-bytes long string). */
#define APP_INIT_BASIC_MODEL_ID        "plant_sensor"

/* First 8 bytes specify the date of manufacturer of the device
 * in ISO 8601 format (YYYYMMDD). The rest (8 bytes) are manufacturer specific.
 */
#define APP_INIT_BASIC_DATE_CODE       "20200329"

/* Type of power sources available for the device.
 * For possible values see section 3.2.2.2.8 of ZCL specification.
 */
#define APP_INIT_BASIC_POWER_SOURCE    ZB_ZCL_BASIC_POWER_SOURCE_BATTERY

/* Describes the physical location of the device (16 bytes).
 * May be modified during commissioning process.
 */
#define APP_INIT_BASIC_LOCATION_DESC   "Office desk"

/* Describes the type of physical environment.
 * For possible values see section 3.2.2.2.10 of ZCL specification.
 */
#define APP_INIT_BASIC_PH_ENV          ZB_ZCL_BASIC_ENV_UNSPECIFIED

/* Device endpoint, used to receive ZCL commands. */
#define TEMPERATURE_SENSOR_ENDPOINT     0x01
#define WATER_CONTENT_ENDPOINT            0x02

enum zigbee_state_e{
    ZIGBEE_STEERING,
    ZIGBEE_JOINING,
    ZIGBEE_JOINED,
    ZIGBEE_ERROR
};

extern zigbee_state_e zigbee_state;

status_code_t zigbee_start();
```

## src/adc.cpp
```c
#include "adc.hpp"
#include "logging/log.h"

LOG_MODULE_REGISTER(adc, 4);

#if !DT_NODE_EXISTS(DT_PATH(zephyr_user)) || \
	!DT_NODE_HAS_PROP(DT_PATH(zephyr_user), io_channels)
#error "No suitable devicetree overlay specified"
#endif

#define DT_SPEC_AND_COMMA(node_id, prop, idx) \
	ADC_DT_SPEC_GET_BY_IDX(node_id, idx),

const struct adc_dt_spec adc_c::m_adc_channels[] = {
	DT_FOREACH_PROP_ELEM(DT_PATH(zephyr_user), io_channels,
			     DT_SPEC_AND_COMMA)
};

adc_c::adc_c(uint16_t channel){
  m_sequence = {
		.buffer = &m_buf,
		/* buffer size in bytes, not number of samples */
		.buffer_size = sizeof(m_buf),
    .calibrate = true
	};
  m_adc_spec = m_adc_channels[channel];
}

/**
* @brief Initializes the adc
* @return STATUS_SUCCESS on success
* @return Error code when init failed
**/
status_code_t adc_c::init(){
  status_code_t st;
  if(!device_is_ready(m_adc_spec.dev)){
    return STATUS_ERROR_DEVICE_NOT_READY;
  }
  st = adc_channel_setup_dt(&m_adc_spec);
  return -st;
}


/**
* @brief Read value from the adc
* @return integer >= 0 containing the measurement value
* @return integer < 0 with a negative error code on failure
**/
int32_t adc_c::read(){
  int32_t st;
  int32_t val_mv;
  (void)adc_sequence_init_dt(&m_adc_spec, &m_sequence);
  st = adc_read(m_adc_spec.dev, &m_sequence);
  if(st < 0){
    return st;
  }
  val_mv = m_buf;


  st = adc_raw_to_millivolts_dt(&m_adc_spec, &val_mv);
  if(st < 0){
    return st;
  }
  return val_mv;
}
```

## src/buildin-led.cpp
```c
#include "buildin-led.hpp"

#include <device.h>
#include <drivers/gpio.h>

#include  <logging/log.h>
LOG_MODULE_REGISTER(buildin_led);

/* The devicetree node identifier for the "led0" alias. */
#define LED0_NODE DT_ALIAS(led0)

bool led_is_on = true;
const struct gpio_dt_spec led_spec =  GPIO_DT_SPEC_GET(LED0_NODE, gpios);
void buildin_led_init(){
	int ret;

	if (!device_is_ready(led_spec.port)) {
		return;
	}

	ret = gpio_pin_configure_dt(&led_spec, GPIO_OUTPUT);
	if (ret < 0) {
		return;
	}
}

void buildin_led_toggle(){
  LOG_DBG("Toggle LED");
  gpio_pin_set_dt(&led_spec, (int)led_is_on);
  led_is_on = !led_is_on;
}
```
